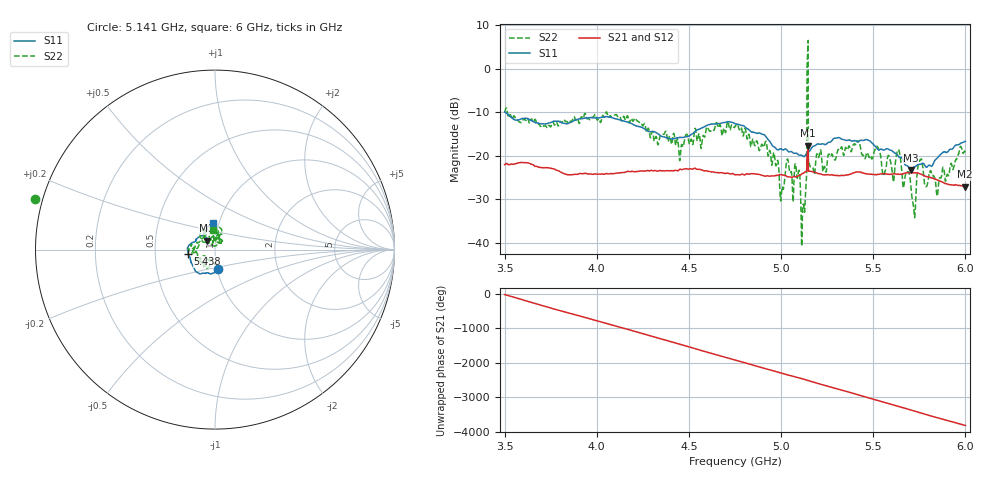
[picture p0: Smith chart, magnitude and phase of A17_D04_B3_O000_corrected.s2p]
! Created with skrf 1.9.0 (http://scikit-rf.org).
# Hz S RI R 50.0
!freq ReS11 ImS11 ReS21 ImS21 ReS12 ImS12 ReS22 ImS22
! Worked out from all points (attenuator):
!   1601 points, 3.5 GHz to 6 GHz, reference 50 ohm
!   highest |S21| = -17.66 dB at 5.147 GHz (marker M1); lowest = -27.1 dB at 5.997 GHz (marker M2)
!   lowest |S11| = -23.2 dB at 5.703 GHz (marker M3), VSWR 1.15, Z = 45.3 + j4.56 ohm
!   |S11| at or under -10 dB: 3.504 GHz to end of sweep
!   |S22| runs from -40.8 to 6.6 dB; largest |S21 - S12| = 0.0012
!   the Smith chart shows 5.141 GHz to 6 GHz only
!   S11 on the Smith chart (normalised r, x): 5.141 GHz: 1.01, -0.22; 5.438 GHz: 0.74, -0.04; 6 GHz: 0.94, +0.28
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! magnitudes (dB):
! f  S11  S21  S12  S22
! 3.5 GHz  -9.9  -22.0  -22.0  -10.0
! 3.917 GHz  -11.4  -24.1  -24.0  -11.0
! 4.334 GHz  -15.0  -23.5  -23.4  -17.2
! 4.75 GHz  -12.6  -24.4  -24.3  -13.3
! 4.912 GHz  -15.3  -24.6  -24.6  -17.1
! 5.005 GHz  -18.4  -24.3  -24.3  -27.5
! 5.033 GHz  -18.6  -24.8  -24.7  -20.8
! 5.088 GHz  -19.5  -24.7  -24.7  -25.1
! 5.119 GHz  -20.0  -24.0  -23.9  -31.2
! 5.141 GHz  -19.3  -20.2  -20.2  0.3
! 5.147 GHz  -19.1  -17.7  -17.6  6.6
! 5.167 GHz  -18.1  -23.6  -23.6  -22.6
! 5.438 GHz  -16.4  -23.8  -23.8  -19.5
! 5.584 GHz  -18.5  -24.2  -24.2  -19.9
! 5.609 GHz  -19.1  -24.1  -24.0  -26.0
! 5.638 GHz  -20.1  -24.2  -24.2  -18.6
! 5.703 GHz  -23.2  -23.9  -23.8  -26.6
! 5.72 GHz  -22.5  -23.9  -23.8  -32.3
! 5.753 GHz  -21.9  -24.1  -24.0  -21.1
! 5.847 GHz  -20.5  -25.5  -25.5  -29.3
! 5.997 GHz  -16.7  -27.1  -27.0  -18.9
! 6 GHz  -16.6  -27.1  -27.0  -19.2
